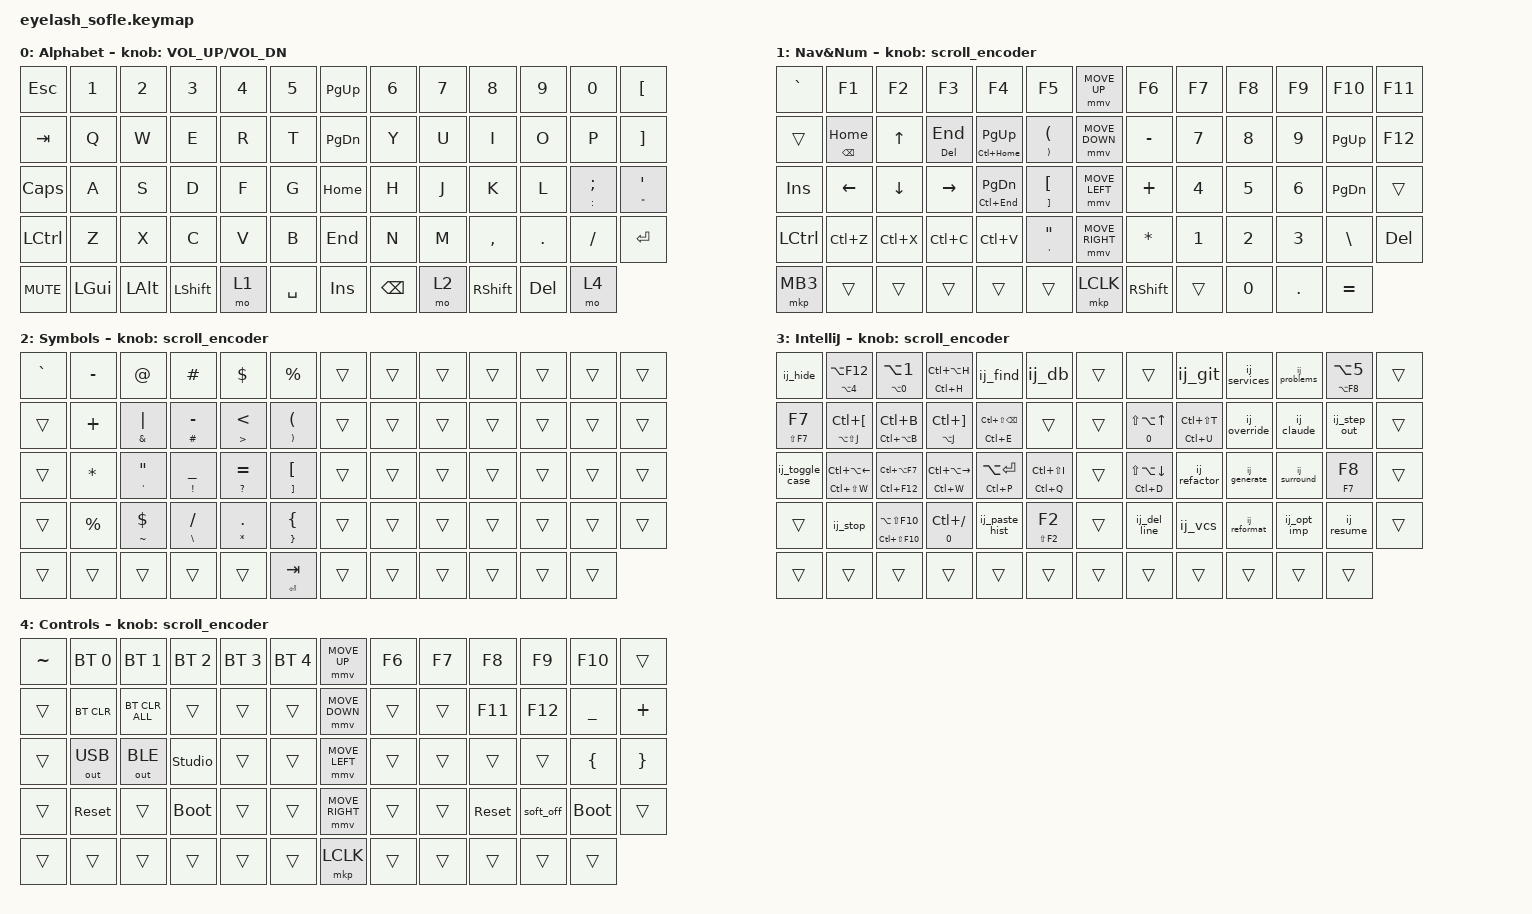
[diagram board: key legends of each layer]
#define ZMK_POINTING_DEFAULT_MOVE_VAL 1200  // 600
#define ZMK_POINTING_DEFAULT_SCRL_VAL 25   // 10

#include <input/processors.dtsi>
#include <zephyr/dt-bindings/input/input-event-codes.h>
#include <behaviors.dtsi>
#include <dt-bindings/zmk/bt.h>
#include <dt-bindings/zmk/keys.h>
#include <dt-bindings/zmk/outputs.h>
#include <dt-bindings/zmk/pointing.h>

// ============================================================
// IntelliJ Layer — Keycode Aliases (used in hold-tap pairs)
// ============================================================

// Panels
#define IJ_TERM_KC        LA(F12)          // Alt+F12        — Terminal
#define IJ_RUN_PNL_KC     LA(N4)           // Alt+4          — Run Panel
#define IJ_PROJ_KC        LA(N1)           // Alt+1          — Project Panel
#define IJ_COMMIT_KC      LA(N0)           // Alt+0          — Commit Panel
#define IJ_CALL_HIER_KC   LC(LA(H))        // Ctrl+Alt+H     — Call Hierarchy
#define IJ_CLS_HIER_KC    LC(H)            // Ctrl+H         — Class Hierarchy
#define IJ_DEBUG_PNL_KC   LA(N5)           // Alt+5          — Debug Panel
#define IJ_EVAL_KC        LA(F8)           // Alt+F8         — Evaluate Expression

// Navigation
#define IJ_DECL_KC        LC(B)            // Ctrl+B         — Go to Declaration
#define IJ_IMPL_KC        LC(LA(B))        // Ctrl+Alt+B     — Go to Implementation
#define IJ_BLK_START_KC   LC(LBKT)         // Ctrl+[         — Block Start
#define IJ_RM_OCC_KC      LA(LS(J))        // Alt+Shift+J    — Remove Occurrence
#define IJ_USAGES_KC      LC(LA(F7))       // Ctrl+Alt+F7    — Show Usages
#define IJ_FILE_STRUCT_KC LC(F12)          // Ctrl+F12       — File Structure
#define IJ_LAST_EDIT_KC   LC(LS(BSPC))     // Ctrl+Shift+Bsp — Last Edit Location
#define IJ_RECENT_KC      LC(E)            // Ctrl+E         — Recent Files
#define IJ_NAV_BACK_KC    LC(LA(LEFT))     // Ctrl+Alt+Left  — Navigate Back
#define IJ_SHRINK_KC      LC(LS(W))        // Ctrl+Shift+W   — Shrink Selection
#define IJ_BLK_END_KC     LC(RBKT)         // Ctrl+]         — Block End
#define IJ_ADD_OCC_KC     LA(J)            // Alt+J          — Add Next Occurrence
#define IJ_NAV_FWD_KC     LC(LA(RIGHT))    // Ctrl+Alt+Right — Navigate Forward
#define IJ_EXPAND_KC      LC(W)            // Ctrl+W         — Expand Selection

// Code Actions
#define IJ_FIX_KC         LA(ENTER)        // Alt+Enter      — Intention Actions
#define IJ_PARAM_KC       LC(P)            // Ctrl+P         — Parameter Info
#define IJ_QDEF_KC        LC(LS(I))        // Ctrl+Shift+I   — Quick Definition
#define IJ_DOC_KC         LC(Q)            // Ctrl+Q         — Quick Documentation
#define IJ_COMMENT_KC     LC(FSLH)         // Ctrl+/         — Comment
#define IJ_NEXT_ERR_KC    F2               // F2             — Next Error
#define IJ_PREV_ERR_KC    LS(F2)           // Shift+F2       — Previous Error

// Run / Debug
#define IJ_RUN_KC         LA(LS(F10))      // Alt+Shift+F10  — Run Config
#define IJ_RUN_CUR_KC     LC(LS(F10))      // Ctrl+Shift+F10 — Run Current
#define IJ_MV_UP_KC       LS(LA(UP))       // Shift+Alt+Up   — Move Line Up
#define IJ_GOTO_TEST_KC   LC(LS(T))        // Ctrl+Shift+T   — Go to Test
#define IJ_SUPER_KC       LC(U)            // Ctrl+U         — Go to Super
#define IJ_MV_DN_KC       LS(LA(DOWN))     // Shift+Alt+Down — Move Line Down
#define IJ_DUPE_KC        LC(D)            // Ctrl+D         — Duplicate Line
#define IJ_STEP_OVER_KC   F8               // F8             — Step Over
#define IJ_STEP_IN_KC     F7               // F7             — Step Into
#define IJ_NEXT_DIFF_KC   F7               // F7             — Next Difference
#define IJ_PREV_DIFF_KC   LS(F7)           // Shift+F7       — Previous Difference

// ============================================================

&mmv_input_listener { input-processors = <&zip_xy_scaler 2 1>; };

&msc_input_listener { input-processors = <&zip_scroll_scaler 2 1>; };

&msc {
    acceleration-exponent = <1>;      // 0
    time-to-max-speed-ms = <100>;       // 300
    delay-ms = <0>;                   // 0
};

&mmv {
    time-to-max-speed-ms = <500>;
    acceleration-exponent = <1>;
    trigger-period-ms = <16>;
};

&soft_off { hold-time-ms = <2000>; };

/ {
    scroll_encoder: scroll_encoder {
        compatible = "zmk,behavior-sensor-rotate";
        #sensor-binding-cells = <0>;
        bindings = <&msc SCRL_DOWN>, <&msc SCRL_UP>;

        tap-ms = <100>;
    };

    home_bksp: home_bksp {
        compatible = "zmk,behavior-mod-morph";
        label = "HOME_BKSP";
        bindings = <&kp HOME>, <&kp BACKSPACE>;

        #binding-cells = <0>;
        keep-mods = <(MOD_LCTL|MOD_RCTL)>;
        mods = <(MOD_LCTL|MOD_RCTL)>;
    };

    end_del: end_del {
        compatible = "zmk,behavior-mod-morph";
        label = "END_DEL";
        bindings = <&kp END>, <&kp DELETE>;

        #binding-cells = <0>;
        mods = <(MOD_LCTL|MOD_RCTL)>;
        keep-mods = <(MOD_LCTL|MOD_RCTL)>;
    };

    behaviors {
        ij_ht: ij_ht {
            compatible = "zmk,behavior-hold-tap";
            label = "IJ_HT";
            #binding-cells = <2>;
            tapping-term-ms = <200>;
            flavor = "tap-preferred";
            bindings = <&kp>, <&kp>;
        };

        ij_javadoc_ht: ij_javadoc_ht {
            compatible = "zmk,behavior-hold-tap";
            label = "IJ_JAVADOC_HT";
            #binding-cells = <2>;
            tapping-term-ms = <200>;
            flavor = "tap-preferred";
            bindings = <&ij_javadoc>, <&kp>;
        };

        ij_join_ht: ij_join_ht {
            compatible = "zmk,behavior-hold-tap";
            label = "IJ_JOIN_HT";
            #binding-cells = <2>;
            tapping-term-ms = <200>;
            flavor = "tap-preferred";
            bindings = <&ij_join>, <&kp>;
        };
    };

    combos {
        compatible = "zmk,combos";

        softoff {
            bindings = <&soft_off>;
            key-positions = <14 28 40>;
        };
    };

    macros {
        SHIFT_MCLK: SHIFT_MCLK {
            compatible = "zmk,behavior-macro";
            #binding-cells = <0>;
            bindings =
                <&macro_press>,
                <&kp LEFT_SHIFT>,
                <&macro_press>,
                <&mkp MB3>,
                <&macro_pause_for_release>,
                <&macro_release>,
                <&kp LEFT_SHIFT &mkp MB3>;

            label = "SHIFT_MCLK";
        };

        // ── Panels ──────────────────────────────────────────────────────────
        ij_hide: ij_hide {
            compatible = "zmk,behavior-macro";
            #binding-cells = <0>;
            bindings = <&kp LS(ESCAPE)>;
            label = "IJ_HIDE"; // Shift+Esc — Hide Active Panel
        };
        ij_find: ij_find {
            compatible = "zmk,behavior-macro";
            #binding-cells = <0>;
            bindings = <&kp LA(N3)>;
            label = "IJ_FIND"; // Alt+3 — Find Panel
        };
        ij_git: ij_git {
            compatible = "zmk,behavior-macro";
            #binding-cells = <0>;
            bindings = <&kp LA(N9)>;
            label = "IJ_GIT"; // Alt+9 — Git Panel
        };
        ij_services: ij_services {
            compatible = "zmk,behavior-macro";
            #binding-cells = <0>;
            bindings = <&kp LA(N8)>;
            label = "IJ_SERVICES"; // Alt+8 — Services Panel
        };
        ij_problems: ij_problems {
            compatible = "zmk,behavior-macro";
            #binding-cells = <0>;
            bindings = <&kp LA(N6)>;
            label = "IJ_PROBLEMS"; // Alt+6 — Problems Panel
        };
        ij_claude: ij_claude {
            compatible = "zmk,behavior-macro";
            #binding-cells = <0>;
            bindings = <&kp LC(LA(K))>;
            label = "IJ_CLAUDE"; // Ctrl+Alt+K — Send to Claude Code
        };

        // ── Code Actions ────────────────────────────────────────────────────
        ij_toggle_case: ij_toggle_case {
            compatible = "zmk,behavior-macro";
            #binding-cells = <0>;
            bindings = <&kp LC(LS(U))>;
            label = "IJ_TOGGLE_CASE"; // Ctrl+Shift+U — Toggle Case
        };
        ij_override: ij_override {
            compatible = "zmk,behavior-macro";
            #binding-cells = <0>;
            bindings = <&kp LC(O)>;
            label = "IJ_OVERRIDE"; // Ctrl+O — Override Methods
        };
        ij_generate: ij_generate {
            compatible = "zmk,behavior-macro";
            #binding-cells = <0>;
            bindings = <&kp LA(INSERT)>;
            label = "IJ_GENERATE"; // Alt+Insert — Generate
        };
        ij_refactor: ij_refactor {
            compatible = "zmk,behavior-macro";
            #binding-cells = <0>;
            bindings = <&kp LC(LA(LS(T)))>;
            label = "IJ_REFACTOR"; // Ctrl+Alt+Shift+T — Refactor This
        };
        ij_surround: ij_surround {
            compatible = "zmk,behavior-macro";
            #binding-cells = <0>;
            bindings = <&kp LC(LA(T))>;
            label = "IJ_SURROUND"; // Ctrl+Alt+T — Surround With
        };
        ij_paste_hist: ij_paste_hist {
            compatible = "zmk,behavior-macro";
            #binding-cells = <0>;
            bindings = <&kp LC(LS(V))>;
            label = "IJ_PASTE_HIST"; // Ctrl+Shift+V — Paste from History
        };
        ij_javadoc: ij_javadoc {
            compatible = "zmk,behavior-macro-one-param";
            #binding-cells = <1>;
            bindings =
                <&kp FSLH>,
                <&kp ASTERISK>,
                <&kp ASTERISK>,
                <&kp ENTER>;
            label = "IJ_JAVADOC"; // /**, Enter — Generate Javadoc
        };
        ij_db: ij_db {
            compatible = "zmk,behavior-macro";
            #binding-cells = <0>;
            bindings = <&kp LA(D)>;
            label = "IJ_DB"; // Alt+D — Database (custom)
        };
        ij_vcs: ij_vcs {
            compatible = "zmk,behavior-macro";
            #binding-cells = <0>;
            bindings = <&kp LA(GRAVE)>;
            label = "IJ_VCS"; // Alt+` — VCS Operations Popup
        };
        ij_del_line: ij_del_line {
            compatible = "zmk,behavior-macro";
            #binding-cells = <0>;
            bindings = <&kp LC(X)>;
            label = "IJ_DEL_LINE"; // Ctrl+X — Delete Line
        };
        ij_reformat: ij_reformat {
            compatible = "zmk,behavior-macro";
            #binding-cells = <0>;
            bindings = <&kp LC(LA(L))>;
            label = "IJ_REFORMAT"; // Ctrl+Alt+L — Reformat Code
        };
        ij_opt_imp: ij_opt_imp {
            compatible = "zmk,behavior-macro";
            #binding-cells = <0>;
            bindings = <&kp LC(LA(O))>;
            label = "IJ_OPT_IMP"; // Ctrl+Alt+O — Optimize Imports
        };

        // ── Run / Debug ──────────────────────────────────────────────────────
        ij_stop: ij_stop {
            compatible = "zmk,behavior-macro";
            #binding-cells = <0>;
            bindings = <&kp LC(F2)>;
            label = "IJ_STOP"; // Ctrl+F2 — Stop
        };
        ij_step_out: ij_step_out {
            compatible = "zmk,behavior-macro";
            #binding-cells = <0>;
            bindings = <&kp LS(F8)>;
            label = "IJ_STEP_OUT"; // Shift+F8 — Step Out
        };
        ij_resume: ij_resume {
            compatible = "zmk,behavior-macro";
            #binding-cells = <0>;
            bindings = <&kp F9>;
            label = "IJ_RESUME"; // F9 — Resume
        };

        // ── Sequence ─────────────────────────────────────────────────────────
        ij_join: ij_join {
            compatible = "zmk,behavior-macro-one-param";
            #binding-cells = <1>;
            bindings = <&kp LS(UP)>, <&kp LC(LS(J))>;
            label = "IJ_JOIN"; // Shift+Up, Ctrl+Shift+J — select line above then join
        };
    };

    keymap {
        compatible = "zmk,keymap";

        layer0 {
            bindings = <
&kp ESC     &kp N1        &kp N2        &kp N3          &kp N4  &kp N5       &kp PAGE_UP    &kp N6         &kp N7  &kp N8           &kp N9      &kp N0               &kp LEFT_BRACKET
&kp TAB     &kp Q         &kp W         &kp E           &kp R   &kp T        &kp PAGE_DOWN  &kp Y          &kp U   &kp I            &kp O       &kp P                &kp RIGHT_BRACKET
&kp CAPS    &kp A         &kp S         &kp D           &kp F   &kp G        &kp HOME       &kp H          &kp J   &kp K            &kp L       &mt COLON SEMICOLON  &mt DOUBLE_QUOTES SINGLE_QUOTE
&kp LCTRL   &kp Z         &kp X         &kp C           &kp V   &kp B        &kp END        &kp N          &kp M   &kp COMMA        &kp DOT     &kp FSLH             &kp ENTER
&kp C_MUTE  &kp LEFT_GUI  &kp LEFT_ALT  &kp LEFT_SHIFT  &mo 1   &kp SPACE    &kp INSERT     &kp BACKSPACE  &mo 2   &kp RIGHT_SHIFT  &kp DELETE  &mo 4
            >;

            sensor-bindings = <&inc_dec_kp C_VOLUME_UP C_VOL_DN>;
            display-name = "Alphabet";
        };

        layer_1 {
            bindings = <
&kp GRAVE   &kp F1              &kp F2          &kp F3           &kp F4                 &kp F5                                    &mmv MOVE_UP     &kp F6        &kp F7  &kp F8  &kp F9   &kp F10    &kp F11
&trans      &mt BACKSPACE HOME  &kp UP_ARROW    &mt DELETE END   &mt LC(HOME) PAGE_UP   &mt RIGHT_PARENTHESIS LEFT_PARENTHESIS    &mmv MOVE_DOWN   &kp MINUS     &kp N7  &kp N8  &kp N9   &kp PG_UP  &kp F12
&kp INSERT  &kp LEFT_ARROW      &kp DOWN_ARROW  &kp RIGHT_ARROW  &mt LC(END) PAGE_DOWN  &mt RIGHT_BRACKET LEFT_BRACKET            &mmv MOVE_LEFT   &kp PLUS      &kp N4  &kp N5  &kp N6   &kp PG_DN  &trans
&kp LCTRL   &kp LC(Z)           &kp LC(X)       &kp LC(C)        &kp LC(V)              &mt SINGLE_QUOTE DOUBLE_QUOTES            &mmv MOVE_RIGHT  &kp ASTERISK  &kp N1  &kp N2  &kp N3   &kp BSLH   &kp DEL
&mkp MB3    &trans              &trans          &trans           &trans                 &trans                                    &mkp LCLK        &kp RSHFT     &trans  &kp N0  &kp DOT  &kp EQUAL
            >;

            display-name = "Nav&Num";
            sensor-bindings = <&scroll_encoder>;
        };

        layer_2 {
            bindings = <
&kp GRAVE  &kp MINUS     &kp AT_SIGN                     &kp POUND                   &kp DOLLAR                  &kp PERCENT                               &trans  &trans  &trans  &trans  &trans  &trans  &trans
&trans     &kp PLUS      &mt AMPS PIPE                   &mt POUND MINUS             &mt GREATER_THAN LESS_THAN  &mt RIGHT_PARENTHESIS LEFT_PARENTHESIS    &trans  &trans  &trans  &trans  &trans  &trans  &trans
&trans     &kp ASTERISK  &mt SINGLE_QUOTE DOUBLE_QUOTES  &mt EXCLAMATION UNDERSCORE  &mt QUESTION EQUAL          &mt RIGHT_BRACKET LEFT_BRACKET            &trans  &trans  &trans  &trans  &trans  &trans  &trans
&trans     &kp PERCENT   &mt TILDE DOLLAR                &mt BACKSLASH SLASH         &mt ASTERISK DOT            &mt RIGHT_BRACE LEFT_BRACE                &trans  &trans  &trans  &trans  &trans  &trans  &trans
&trans     &trans        &trans                          &trans                      &trans                      &mt ENTER TAB                             &trans  &trans  &trans  &trans  &trans  &trans
            >;

            display-name = "Symbols";
            sensor-bindings = <&scroll_encoder>;
        };

        layer_3 {
            bindings = <
&ij_hide  &ij_ht IJ_RUN_PNL_KC IJ_TERM_KC  &ij_ht IJ_COMMIT_KC IJ_PROJ_KC  &ij_ht IJ_CLS_HIER_KC IJ_CALL_HIER_KC  &ij_find  &ij_db  &trans    &trans  &ij_git  &ij_services  &ij_problems  &ij_ht IJ_EVAL_KC IJ_DEBUG_PNL_KC  &trans
&ij_ht IJ_PREV_DIFF_KC IJ_NEXT_DIFF_KC  &ij_ht IJ_RM_OCC_KC IJ_BLK_START_KC  &ij_ht IJ_IMPL_KC IJ_DECL_KC  &ij_ht IJ_ADD_OCC_KC IJ_BLK_END_KC  &ij_ht IJ_RECENT_KC IJ_LAST_EDIT_KC  &trans  &trans    &ij_join_ht N0 IJ_MV_UP_KC  &ij_ht IJ_SUPER_KC IJ_GOTO_TEST_KC  &ij_override  &ij_claude  &ij_step_out  &trans
&ij_toggle_case  &ij_ht IJ_SHRINK_KC IJ_NAV_BACK_KC  &ij_ht IJ_FILE_STRUCT_KC IJ_USAGES_KC  &ij_ht IJ_EXPAND_KC IJ_NAV_FWD_KC  &ij_ht IJ_PARAM_KC IJ_FIX_KC  &ij_ht IJ_DOC_KC IJ_QDEF_KC  &trans    &ij_ht IJ_DUPE_KC IJ_MV_DN_KC  &ij_refactor  &ij_generate  &ij_surround  &ij_ht IJ_STEP_IN_KC IJ_STEP_OVER_KC  &trans
&trans  &ij_stop  &ij_ht IJ_RUN_CUR_KC IJ_RUN_KC  &ij_javadoc_ht N0 IJ_COMMENT_KC  &ij_paste_hist  &ij_ht IJ_PREV_ERR_KC IJ_NEXT_ERR_KC  &trans    &ij_del_line  &ij_vcs  &ij_reformat  &ij_opt_imp  &ij_resume  &trans
&trans  &trans  &trans  &trans  &trans  &trans    &trans  &trans  &trans  &trans  &trans  &trans
            >;

            display-name = "IntelliJ";
            sensor-bindings = <&scroll_encoder>;
        };

        layer_4 {
            bindings = <
&kp TILDE  &bt BT_SEL 0  &bt BT_SEL 1    &bt BT_SEL 2    &bt BT_SEL 3  &bt BT_SEL 4    &mmv MOVE_UP     &kp F6  &kp F7  &kp F8      &kp F9     &kp F10      &trans
&trans     &bt BT_CLR    &bt BT_CLR_ALL  &trans          &trans        &trans          &mmv MOVE_DOWN   &trans  &trans  &kp F11     &kp F12    &kp UNDER    &kp PLUS
&trans     &out OUT_USB  &out OUT_BLE    &studio_unlock  &trans        &trans          &mmv MOVE_LEFT   &trans  &trans  &trans      &trans     &kp LBRC     &kp RBRC
&trans     &sys_reset    &trans          &bootloader     &trans        &trans          &mmv MOVE_RIGHT  &trans  &trans  &sys_reset  &soft_off  &bootloader  &trans
&trans     &trans        &trans          &trans          &trans        &trans          &mkp LCLK        &trans  &trans  &trans      &trans     &trans
            >;

            display-name = "Controls";
            sensor-bindings = <&scroll_encoder>;
        };
    };

    conditional_layers {
        compatible = "zmk,conditional-layers";

        CustomLayer {
            if-layers = <1 2>;
            then-layer = <3>;
        };
    };
};
